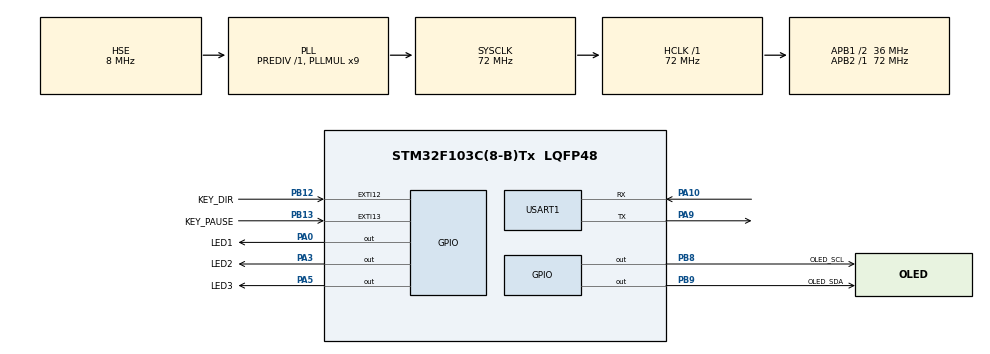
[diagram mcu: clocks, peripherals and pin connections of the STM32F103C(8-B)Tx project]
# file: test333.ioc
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Mcu.Family=STM32F1
Mcu.Name=STM32F103C(8-B)Tx
Mcu.Package=LQFP48
NVIC.EXTI15_10_IRQn=true\:0\:0\:false\:false\:true\:true\:true\:true
NVIC.PriorityGroup=NVIC_PRIORITYGROUP_4
NVIC.USART1_IRQn=true\:0\:0\:false\:false\:true\:true\:true\:true
PA0-WKUP.GPIO_Label=LED1
PA0-WKUP.GPIO_ModeDefaultOutputPP=GPIO_MODE_OUTPUT_PP
PA0-WKUP.GPIO_PuPd=GPIO_NOPULL
PA0-WKUP.Signal=GPIO_Output
PA10.Mode=Asynchronous
PA10.Signal=USART1_RX
PA13.Mode=Serial_Wire
PA13.Signal=SYS_JTMS-SWDIO
PA14.Mode=Serial_Wire
PA14.Signal=SYS_JTCK-SWCLK
PA3.GPIO_Label=LED2
PA3.GPIO_ModeDefaultOutputPP=GPIO_MODE_OUTPUT_PP
PA3.GPIO_PuPd=GPIO_NOPULL
PA3.Signal=GPIO_Output
PA5.GPIO_Label=LED3
PA5.GPIO_ModeDefaultOutputPP=GPIO_MODE_OUTPUT_PP
PA5.GPIO_PuPd=GPIO_NOPULL
PA5.Signal=GPIO_Output
PA9.Mode=Asynchronous
PA9.Signal=USART1_TX
PB12.GPIO_Label=KEY_DIR
PB12.GPIO_ModeDefaultEXTI=GPIO_MODE_IT_FALLING
PB12.GPIO_PuPd=GPIO_PULLUP
PB12.Signal=GPXTI12
PB13.GPIO_Label=KEY_PAUSE
PB13.GPIO_ModeDefaultEXTI=GPIO_MODE_IT_FALLING
PB13.GPIO_PuPd=GPIO_PULLUP
PB13.Signal=GPXTI13
PB8.GPIO_Label=OLED_SCL
PB8.GPIO_ModeDefaultOutputPP=GPIO_MODE_OUTPUT_OD
PB8.GPIO_PuPd=GPIO_NOPULL
PB8.PinState=GPIO_PIN_SET
PB8.Signal=GPIO_Output
PB9.GPIO_Label=OLED_SDA
PB9.GPIO_ModeDefaultOutputPP=GPIO_MODE_OUTPUT_OD
PB9.GPIO_PuPd=GPIO_NOPULL
PB9.PinState=GPIO_PIN_SET
PB9.Signal=GPIO_Output
PC14-OSC32_IN.Mode=LSE-External-Oscillator
PC14-OSC32_IN.Signal=RCC_OSC32_IN
PC15-OSC32_OUT.Mode=LSE-External-Oscillator
PC15-OSC32_OUT.Signal=RCC_OSC32_OUT
PD0-OSC_IN.Mode=HSE-External-Oscillator
PD0-OSC_IN.Signal=RCC_OSC_IN
PD1-OSC_OUT.Mode=HSE-External-Oscillator
PD1-OSC_OUT.Signal=RCC_OSC_OUT
ProjectManager.HeapSize=0x200
ProjectManager.StackSize=0x400
ProjectManager.TargetToolchain=CMake
RCC.AHBFreq_Value=72000000
RCC.APB1CLKDivider=RCC_HCLK_DIV2
RCC.APB1Freq_Value=36000000
RCC.APB1TimFreq_Value=72000000
RCC.APB2Freq_Value=72000000
RCC.APB2TimFreq_Value=72000000
RCC.HCLKFreq_Value=72000000
RCC.PLLMUL=RCC_PLL_MUL9
RCC.PLLSourceVirtual=RCC_PLLSOURCE_HSE
RCC.SYSCLKFreq_VALUE=72000000
RCC.SYSCLKSource=RCC_SYSCLKSOURCE_PLLCLK
RCC.USBFreq_Value=72000000
USART1.VirtualMode=VM_ASYNC
board=custom

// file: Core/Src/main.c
/* USER CODE BEGIN Header */
/**
  ******************************************************************************
  * @file           : main.c
  * @brief          : Main program body
  ******************************************************************************
  * @attention
  *
  * Copyright (c) 2026 STMicroelectronics.
  * All rights reserved.
  *
  * This software is licensed under terms that can be found in the LICENSE file
  * in the root directory of this software component.
  * If no LICENSE file comes with this software, it is provided AS-IS.
  *
  ******************************************************************************
  */
/* USER CODE END Header */
#include "main.h"
#include "usart.h"
#include "gpio.h"

/* USER CODE BEGIN Includes */
#include <stdio.h>
#include "OLED.h"
/* USER CODE END Includes */

/* USER CODE BEGIN PV */
volatile uint8_t  run_state = 1;      // 0=暂停 1=运行
volatile uint8_t  flow_dir  = 0;      // 0=正向 1=反向
volatile uint16_t step_ms   =300;    // 切换间隔
uint8_t  current_led = 0;
const uint16_t LED_PINS[3] = {GPIO_PIN_0, GPIO_PIN_3, GPIO_PIN_5};

volatile uint8_t  key_dir_flag = 0, key_pause_flag = 0;
volatile uint32_t key_dir_tick = 0, key_pause_tick = 0;
volatile uint8_t  need_oled = 1, need_feedback = 1;

uint8_t rx_byte, rx_buf[6];
volatile uint8_t rx_len = 0, packet_ready = 0;
uint32_t last_tick = 0;

typedef struct {
  uint8_t header, run, dir, step_l, step_h, check;
} LedPacket_t;
/* USER CODE END PV */

void SystemClock_Config(void);

int main(void)
{

  /* MCU Configuration--------------------------------------------------------*/

  /* Reset of all peripherals, Initializes the Flash interface and the Systick. */
  HAL_Init();

  /* Configure the system clock */
  SystemClock_Config();

  /* Initialize all configured peripherals */
  MX_GPIO_Init();
  MX_USART1_UART_Init();
  /* USER CODE BEGIN 2 */
  HAL_UART_Receive_IT(&huart1, &rx_byte, 1);   // 开串口接收中断

  HAL_GPIO_WritePin(GPIOB, GPIO_PIN_7, GPIO_PIN_SET);    // OLED 供电 VCC
  HAL_GPIO_WritePin(GPIOB, GPIO_PIN_6, GPIO_PIN_RESET);  // OLED 供电 GND
  HAL_Delay(100);
  OLED_Init();

  HAL_GPIO_WritePin(GPIOA, LED_PINS[0], GPIO_PIN_RESET); // 点亮第1颗
  /* USER CODE END 2 */

  /* Infinite loop */
  while (1)
  {
    /* 按键消抖处理 */
    if (key_dir_flag && HAL_GetTick() - key_dir_tick > 30) {
      if (HAL_GPIO_ReadPin(GPIOB, GPIO_PIN_12) == GPIO_PIN_RESET)
      { flow_dir ^= 1; need_oled = 1; need_feedback = 1; }
      key_dir_flag = 0;
    }
    if (key_pause_flag && HAL_GetTick() - key_pause_tick > 30) {
      if (HAL_GPIO_ReadPin(GPIOB, GPIO_PIN_13) == GPIO_PIN_RESET)
      { run_state ^= 1; need_oled = 1; need_feedback = 1; }
      key_pause_flag = 0;
    }

    /* 串口数据包解析 */
    if (packet_ready) {
      LedPacket_t *p = (LedPacket_t *)rx_buf;
      uint8_t sum = p->header + p->run + p->dir + p->step_l + p->step_h;
      if (p->header == 0xAA && sum == p->check) {
        run_state = p->run;
        flow_dir  = p->dir;
        uint16_t s = p->step_l | (p->step_h << 8);
        if (s >= 100 && s <= 2000) step_ms = s;
        need_oled = 1; need_feedback = 1;
      }
      packet_ready = 0;
    }

    /* 流水灯 */
    if (run_state && HAL_GetTick() - last_tick >= step_ms) {
      last_tick = HAL_GetTick();
      HAL_GPIO_WritePin(GPIOA, LED_PINS[current_led], GPIO_PIN_SET);
      if (flow_dir == 0) current_led = (current_led + 1) % 3;
      else               current_led = (current_led == 0) ? 2 : current_led - 1;
      HAL_GPIO_WritePin(GPIOA, LED_PINS[current_led], GPIO_PIN_RESET);
      need_oled = 1;
    }

    /* 串口反馈 */
    if (need_feedback && huart1.gState == HAL_UART_STATE_READY) {
      char msg[64];
      int n = snprintf(msg, sizeof(msg), "STATE=%s,DIR=%s,STEP=%u,LED=%d\r\n",
                       run_state ? "RUN" : "PAUSE", flow_dir ? "REV" : "FWD",
                       step_ms, current_led + 1);
      HAL_UART_Transmit_IT(&huart1, (uint8_t *)msg, n);
      need_feedback = 0;
    }

    /* OLED 刷新 */
    if (need_oled) {
      OLED_Clear();
      OLED_ShowString(1, 1, run_state ? "STATE: RUN" : "STATE: PAUSE");
      OLED_ShowString(2, 1, flow_dir ? "DIR: REV" : "DIR: FWD");
      OLED_ShowString(3, 1, "STEP:"); OLED_ShowNum(3, 6, step_ms, 4); OLED_ShowString(3, 10, "ms");
      OLED_ShowString(4, 1, "LED:");  OLED_ShowNum(4, 5, current_led + 1, 1);
      need_oled = 0;
    }
  }
}

void SystemClock_Config(void)
{
  RCC_OscInitTypeDef RCC_OscInitStruct = {0};
  RCC_ClkInitTypeDef RCC_ClkInitStruct = {0};

  /** Initializes the RCC Oscillators according to the specified parameters
  * in the RCC_OscInitTypeDef structure.
  */
  RCC_OscInitStruct.OscillatorType = RCC_OSCILLATORTYPE_HSE;
  RCC_OscInitStruct.HSEState = RCC_HSE_ON;
  RCC_OscInitStruct.HSEPredivValue = RCC_HSE_PREDIV_DIV1;
  RCC_OscInitStruct.HSIState = RCC_HSI_ON;
  RCC_OscInitStruct.PLL.PLLState = RCC_PLL_ON;
  RCC_OscInitStruct.PLL.PLLSource = RCC_PLLSOURCE_HSE;
  RCC_OscInitStruct.PLL.PLLMUL = RCC_PLL_MUL9;
  if (HAL_RCC_OscConfig(&RCC_OscInitStruct) != HAL_OK)
  {
    Error_Handler();
  }

  /** Initializes the CPU, AHB and APB buses clocks
  */
  RCC_ClkInitStruct.ClockType = RCC_CLOCKTYPE_HCLK|RCC_CLOCKTYPE_SYSCLK
                              |RCC_CLOCKTYPE_PCLK1|RCC_CLOCKTYPE_PCLK2;
  RCC_ClkInitStruct.SYSCLKSource = RCC_SYSCLKSOURCE_PLLCLK;
  RCC_ClkInitStruct.AHBCLKDivider = RCC_SYSCLK_DIV1;
  RCC_ClkInitStruct.APB1CLKDivider = RCC_HCLK_DIV2;
  RCC_ClkInitStruct.APB2CLKDivider = RCC_HCLK_DIV1;

  if (HAL_RCC_ClockConfig(&RCC_ClkInitStruct, FLASH_LATENCY_2) != HAL_OK)
  {
    Error_Handler();
  }
}

/* USER CODE BEGIN 4 */
void HAL_GPIO_EXTI_Callback(uint16_t GPIO_Pin)
{
  if (GPIO_Pin == GPIO_PIN_12)      { key_dir_flag = 1;   key_dir_tick = HAL_GetTick(); }
  else if (GPIO_Pin == GPIO_PIN_13) { key_pause_flag = 1; key_pause_tick = HAL_GetTick(); }
}

void HAL_UART_RxCpltCallback(UART_HandleTypeDef *huart)
{
  if (huart->Instance == USART1) {
    if (rx_len == 0 && rx_byte != 0xAA) { /* 等帧头 */ }
    else {
      rx_buf[rx_len++] = rx_byte;
      if (rx_len >= 6) { packet_ready = 1; rx_len = 0; }
    }
    HAL_UART_Receive_IT(&huart1, &rx_byte, 1);
  }
}
/* USER CODE END 4 */

void Error_Handler(void)
{
  __disable_irq();
  while (1)
  {
  }
}
